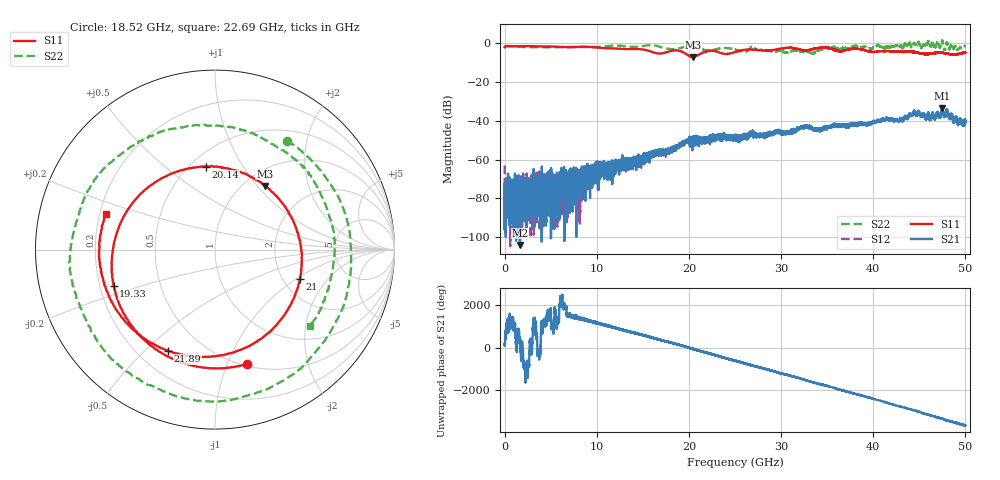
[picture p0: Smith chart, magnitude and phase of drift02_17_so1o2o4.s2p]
!Created with skrf (http://scikit-rf.org).
# Hz S RI R 50.0
!freq ReS11 ImS11 ReS21 ImS21 ReS12 ImS12 ReS22 ImS22
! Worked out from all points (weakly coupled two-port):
!   10001 points, 300 kHz to 50 GHz, reference 50 ohm
!   highest |S21| = -33.41 dB at 47.51 GHz (marker M1); lowest = -104.1 dB at 1.665 GHz (marker M2)
!   lowest |S11| = -6.9 dB at 20.45 GHz (marker M3), VSWR 2.64, Z = 61.5 + j54.8 ohm
!   |S11| at or under -10 dB: nowhere
!   |S22| runs from -5.3 to 1.5 dB; largest |S21 - S12| = 0.0035
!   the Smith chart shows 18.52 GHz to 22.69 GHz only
!   S11 on the Smith chart (normalised r, x): 18.52 GHz: 0.52, -1.18; 19.33 GHz: 0.26, -0.16; 20.14 GHz: 0.59, +0.70; 21 GHz: 2.46, -1.07; 21.89 GHz: 0.32, -0.59; 22.69 GHz: 0.23, +0.15
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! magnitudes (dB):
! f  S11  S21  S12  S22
! 300 kHz  -2.1  -74.2  -63.0  -1.3
! 255.3 MHz  -1.4  -80.9  -82.8  -1.4
! 1.665 GHz  -1.4  -104.1  -71.6  -1.8
! 4.515 GHz  -1.6  -75.8  -75.4  -2.0
! 8.335 GHz  -1.7  -65.8  -70.7  -1.9
! 16.67 GHz  -5.2  -56.3  -56.8  -1.5
! 18.52 GHz  -3.6  -54.7  -53.9  -2.8
! 19.33 GHz  -4.4  -51.2  -51.6  -2.1
! 20.14 GHz  -6.6  -50.8  -49.4  -1.5
! 20.45 GHz  -6.9  -50.2  -49.5  -1.8
! 21 GHz  -6.0  -48.8  -48.9  -2.3
! 21.89 GHz  -4.1  -48.6  -50.1  -3.5
! 22.69 GHz  -3.9  -47.6  -49.7  -3.4
! 25 GHz  -4.5  -49.8  -48.9  -3.2
! 26.11 GHz  -3.3  -49.4  -48.5  -4.3
! 26.9 GHz  -3.2  -46.1  -46.2  -1.7
! 28.07 GHz  -3.7  -46.7  -47.3  -3.4
! 33.34 GHz  -3.0  -43.9  -43.7  -5.0
! 34.89 GHz  -2.2  -44.0  -43.6  -2.3
! 41.67 GHz  -4.0  -39.6  -39.2  -2.0
! 47.51 GHz  -4.9  -33.4  -33.3  1.5
! 50 GHz  -4.7  -40.2  -41.0  -1.5
